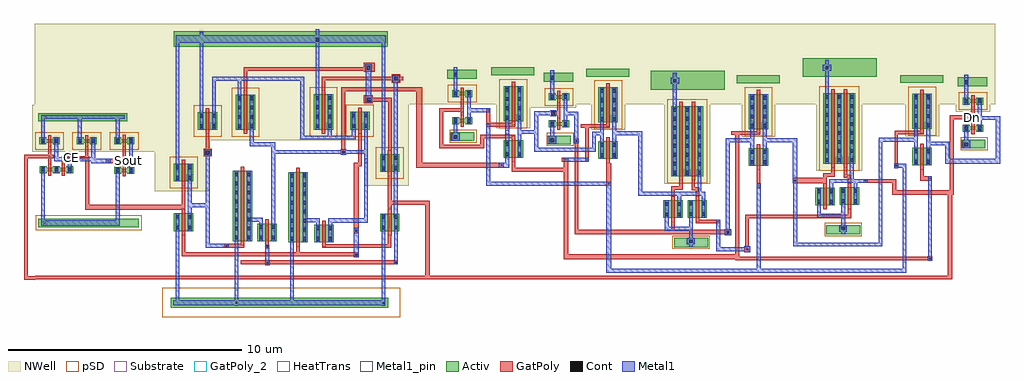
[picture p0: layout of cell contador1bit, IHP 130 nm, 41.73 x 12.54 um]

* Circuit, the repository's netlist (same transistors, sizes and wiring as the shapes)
* Extracted by KLayout with SG13G2 LVS runset on : 29/04/2026 17:07

.SUBCKT contador1bit
M$1 \$12 \$2 \$11 \$1 sg13_lv_nmos L=0.15u W=0.75u AS=0.255p AD=0.255p PS=2.18u
+ PD=2.18u
M$2 \$10 \$5 \$11 \$1 sg13_lv_nmos L=0.15u W=0.75u AS=0.255p AD=0.255p PS=2.18u
+ PD=2.18u
M$3 \$1 \$2 \$5 \$1 sg13_lv_nmos L=0.15u W=0.75u AS=0.255p AD=0.255p PS=2.18u
+ PD=2.18u
M$4 \$1 \$4 \$7 \$1 sg13_lv_nmos L=0.15u W=0.75u AS=0.255p AD=0.255p PS=2.18u
+ PD=2.18u
M$5 \$1 \$13 \$17 \$1 sg13_lv_nmos L=0.15u W=0.75u AS=0.255p AD=0.255p PS=2.18u
+ PD=2.18u
M$6 \$1 \$8 \$17 \$1 sg13_lv_nmos L=0.15u W=0.75u AS=0.255p AD=0.255p PS=2.18u
+ PD=2.18u
M$7 \$1 \$9 \$2 \$1 sg13_lv_nmos L=0.15u W=0.75u AS=0.255p AD=0.255p PS=2.18u
+ PD=2.18u
M$8 \$1 \$8 \$2 \$1 sg13_lv_nmos L=0.15u W=0.75u AS=0.255p AD=0.255p PS=2.18u
+ PD=2.18u
M$9 \$1 \$4 \$12 \$1 sg13_lv_nmos L=0.15u W=3u AS=1.02p AD=1.02p PS=6.68u
+ PD=6.68u
M$10 \$1 \$7 \$10 \$1 sg13_lv_nmos L=0.15u W=3u AS=1.02p AD=1.02p PS=6.68u
+ PD=6.68u
M$11 \$1 \$28 \$29 \$1 sg13_lv_nmos L=0.13u W=0.15u AS=0.1005p AD=0.1005p
+ PS=1.34u PD=1.34u
M$12 \$1 \$2 \$27 \$1 sg13_lv_nmos L=0.13u W=0.15u AS=0.1005p AD=0.0555p
+ PS=1.34u PD=0.74u
M$13 \$27 \$4 \$28 \$1 sg13_lv_nmos L=0.13u W=0.15u AS=0.0555p AD=0.1005p
+ PS=0.74u PD=1.34u
M$14 \$13 \$3 \$9 \$1 sg13_lv_nmos L=0.15u W=0.75u AS=0.255p AD=0.255p PS=2.18u
+ PD=2.18u
M$15 \$9 \$6 \$31 \$1 sg13_lv_nmos L=0.15u W=0.75u AS=0.255p AD=0.255p PS=2.18u
+ PD=2.18u
M$16 \$37 \$3 \$17 \$1 sg13_lv_nmos L=0.15u W=0.75u AS=0.255p AD=0.255p
+ PS=2.18u PD=2.18u
M$17 \$11 \$6 \$37 \$1 sg13_lv_nmos L=0.15u W=0.75u AS=0.255p AD=0.255p
+ PS=2.18u PD=2.18u
M$18 \$1 \$2 \$31 \$1 sg13_lv_nmos L=0.13u W=0.15u AS=0.1005p AD=0.1005p
+ PS=1.34u PD=1.34u
M$19 \$1 \$37 \$13 \$1 sg13_lv_nmos L=0.13u W=0.15u AS=0.1005p AD=0.1005p
+ PS=1.34u PD=1.34u
M$20 \$1 \$6 \$3 \$1 sg13_lv_nmos L=0.13u W=0.15u AS=0.1005p AD=0.1005p
+ PS=1.34u PD=1.34u
M$21 \$23 \$4 \$7 \$23 sg13_lv_pmos L=0.15u W=0.75u AS=0.255p AD=0.255p
+ PS=2.18u PD=2.18u
M$22 \$23 \$2 \$5 \$23 sg13_lv_pmos L=0.15u W=0.75u AS=0.255p AD=0.255p
+ PS=2.18u PD=2.18u
M$23 \$23 \$2 \$28 \$23 sg13_lv_pmos L=0.13u W=0.15u AS=0.1005p AD=0.1005p
+ PS=1.34u PD=1.34u
M$24 \$23 \$4 \$28 \$23 sg13_lv_pmos L=0.13u W=0.15u AS=0.1005p AD=0.1005p
+ PS=1.34u PD=1.34u
M$25 \$23 \$28 \$29 \$23 sg13_lv_pmos L=0.13u W=0.15u AS=0.1005p AD=0.1005p
+ PS=1.34u PD=1.34u
M$26 \$23 \$7 \$42 \$23 sg13_lv_pmos L=0.15u W=0.75u AS=0.255p AD=0.255p
+ PS=2.18u PD=2.18u
M$27 \$42 \$4 \$11 \$23 sg13_lv_pmos L=0.15u W=0.75u AS=0.255p AD=0.255p
+ PS=2.18u PD=2.18u
M$28 \$23 \$13 \$24 \$23 sg13_lv_pmos L=0.15u W=3u AS=1.02p AD=0.57p PS=6.68u
+ PD=3.38u
M$29 \$24 \$8 \$17 \$23 sg13_lv_pmos L=0.15u W=3u AS=0.57p AD=1.02p PS=3.38u
+ PD=6.68u
M$30 \$23 \$2 \$31 \$23 sg13_lv_pmos L=0.13u W=0.15u AS=0.1005p AD=0.1005p
+ PS=1.34u PD=1.34u
M$31 \$42 \$2 \$11 \$23 sg13_lv_pmos L=0.15u W=1.5u AS=0.51p AD=0.51p PS=3.68u
+ PD=3.68u
M$32 \$23 \$5 \$42 \$23 sg13_lv_pmos L=0.15u W=1.5u AS=0.51p AD=0.51p PS=3.68u
+ PD=3.68u
M$33 \$13 \$6 \$9 \$23 sg13_lv_pmos L=0.15u W=1.5u AS=0.51p AD=0.51p PS=3.68u
+ PD=3.68u
M$34 \$9 \$3 \$31 \$23 sg13_lv_pmos L=0.15u W=1.5u AS=0.51p AD=0.51p PS=3.68u
+ PD=3.68u
M$35 \$23 \$9 \$30 \$23 sg13_lv_pmos L=0.15u W=3u AS=1.02p AD=0.57p PS=6.68u
+ PD=3.38u
M$36 \$30 \$8 \$2 \$23 sg13_lv_pmos L=0.15u W=3u AS=0.57p AD=1.02p PS=3.38u
+ PD=6.68u
M$37 \$23 \$37 \$13 \$23 sg13_lv_pmos L=0.13u W=0.15u AS=0.1005p AD=0.1005p
+ PS=1.34u PD=1.34u
M$38 \$23 \$6 \$3 \$23 sg13_lv_pmos L=0.13u W=0.15u AS=0.1005p AD=0.1005p
+ PS=1.34u PD=1.34u
M$39 \$37 \$6 \$17 \$23 sg13_lv_pmos L=0.15u W=1.5u AS=0.51p AD=0.51p PS=3.68u
+ PD=3.68u
M$40 \$11 \$3 \$37 \$23 sg13_lv_pmos L=0.15u W=1.5u AS=0.51p AD=0.51p PS=3.68u
+ PD=3.68u
.ENDS contador1bit

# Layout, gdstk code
import gdstk
lib = gdstk.Library(unit=1e-6, precision=5e-09)
def R(c, l, rs):  # rectangles x0, y0, x1, y1
    for r in rs: c.add(gdstk.rectangle(r[:2], r[2:], *l))
def A(c, l, x, y, w, h, nx, ny, dx, dy):  # array of equal rectangles
    R(c, l, [(x+i*dx, y+j*dy, x+i*dx+w, y+j*dy+h) for i in range(nx) for j in range(ny)])
Activ = (1, 0)
GatPoly = (5, 0)
GatPoly_2 = (5, 2)
Cont = (6, 0)
Metal1 = (8, 0)
Metal1_pin = (8, 2)
pSD = (14, 0)
NWell = (31, 0)
Substrate = (40, 0)
HeatTrans = (51, 0)

pmos = lib.new_cell('pmos')
R(pmos, Activ, [(0,0,0.3,0.3), (0.57,0,0.87,0.3), (0,0.075,0.87,0.225)])
R(pmos, GatPoly, [(0.37,-0.105,0.5,0.405), (0.37,-0.105,0.5,0.405)])
R(pmos, Cont, [(0.07,0.07,0.23,0.23), (0.64,0.07,0.8,0.23)])
R(pmos, Metal1, [(0.07,0.02,0.23,0.28), (0.07,0.02,0.23,0.28), (0.64,0.02,0.8,0.28), (0.64,0.02,0.8,0.28)])
R(pmos, pSD, [(-0.18,-0.225,1.05,0.525)])
R(pmos, NWell, [(-0.31,-0.31,1.18,0.61)])
R(pmos, Substrate, [(0.57,0,0.87,0.3)])
R(pmos, HeatTrans, [(0.37,-0.105,0.5,0.405)])
pmos.add(gdstk.Label('pmos', (0.435,0.15), layer=63, texttype=0))
pmos.add(gdstk.Label('pmos', (0.435,0.15), layer=51, texttype=0))

nmos_1 = lib.new_cell('nmos$1')
R(nmos_1, Activ, [(0,0,0.3,0.3), (0.57,0,0.87,0.3), (0,0.075,0.87,0.225)])
R(nmos_1, GatPoly, [(0.37,-0.105,0.5,0.405)])
R(nmos_1, GatPoly_2, [(0.37,-0.105,0.5,0.405)])
R(nmos_1, Cont, [(0.07,0.07,0.23,0.23), (0.64,0.07,0.8,0.23)])
R(nmos_1, Metal1, [(0.07,0.02,0.23,0.28), (0.64,0.02,0.8,0.28)])
R(nmos_1, Metal1_pin, [(0.07,0.02,0.23,0.28), (0.64,0.02,0.8,0.28)])
R(nmos_1, HeatTrans, [(0.37,-0.105,0.5,0.405)])
nmos_1.add(gdstk.Label('nmos', (0.435,0.15), layer=63, texttype=0))
nmos_1.add(gdstk.Label('nmos', (0.435,0.15), layer=51, texttype=0))

inversor = lib.new_cell('inversor')
R(inversor, Activ, [(0.69,-0.325,1.695,0.04), (0.53,2.34,1.795,2.73)])
R(inversor, GatPoly, [(1.115,0.69,1.245,1.53)])
R(inversor, Cont, [(0.815,-0.235,0.975,-0.075), (0.815,2.43,0.975,2.59)])
R(inversor, Metal1, [(0.735,-0.31,1.065,-0.005), (0.815,-0.28,0.975,0.54), (1.385,0.54,1.545,1.735), (0.815,1.7,0.975,2.835)])
R(inversor, Metal1_pin, [(0.815,-0.235,0.975,-0.075), (0.815,2.43,0.975,2.59)])
R(inversor, pSD, [(0.655,-0.395,1.81,0.165)])
R(inversor, NWell, [(0.2,2.1,2.115,3.095)])
inversor.add(gdstk.Reference(pmos, (0.745,1.55)))
inversor.add(gdstk.Reference(nmos_1, (0.745,0.39)))
inversor.add(gdstk.Label('Vss', (0.905,-0.165), layer=8, texttype=2))
inversor.add(gdstk.Label('Vdd', (0.87,2.535), layer=8, texttype=2))

pmos_1_1 = lib.new_cell('pmos$1$1')
R(pmos_1_1, Activ, [(0,0,0.3,0.3), (0,0,0.83,3), (0.53,0,0.83,0.3)])
R(pmos_1_1, GatPoly, [(0.34,-0.18,0.49,3.18), (0.34,-0.18,0.49,3.18)])
A(pmos_1_1, Cont, 0.07, 0.07, 0.16, 0.16, 1, 7, 0, 0.385)
A(pmos_1_1, Cont, 0.6, 0.07, 0.16, 0.16, 1, 7, 0, 0.385)
R(pmos_1_1, Cont, [(0.07,2.77,0.23,2.93), (0.6,2.77,0.76,2.93)])
R(pmos_1_1, Metal1, [(0.07,0,0.23,3), (0.07,0,0.23,3), (0.6,0,0.76,3), (0.6,0,0.76,3)])
R(pmos_1_1, pSD, [(-0.18,-0.3,1.01,3.3)])
R(pmos_1_1, NWell, [(-0.31,-0.31,1.14,3.31)])
R(pmos_1_1, Substrate, [(0.53,0,0.83,0.3)])
R(pmos_1_1, HeatTrans, [(0.34,-0.18,0.49,3.18)])
pmos_1_1.add(gdstk.Label('pmos', (0.415,1.5), layer=63, texttype=0))
pmos_1_1.add(gdstk.Label('pmos', (0.415,1.5), layer=51, texttype=0))

nmos_1_1 = lib.new_cell('nmos$1$1')
R(nmos_1_1, Activ, [(0,0,0.3,0.3), (0,0,0.83,0.75), (0.53,0,0.83,0.3)])
R(nmos_1_1, GatPoly, [(0.34,-0.18,0.49,0.93)])
R(nmos_1_1, GatPoly_2, [(0.34,-0.18,0.49,0.93)])
R(nmos_1_1, Cont, [(0.07,0.07,0.23,0.23), (0.6,0.07,0.76,0.23), (0.07,0.52,0.23,0.68), (0.6,0.52,0.76,0.68)])
R(nmos_1_1, Metal1, [(0.07,0,0.23,0.75), (0.6,0,0.76,0.75)])
R(nmos_1_1, Metal1_pin, [(0.07,0,0.23,0.75), (0.6,0,0.76,0.75)])
R(nmos_1_1, HeatTrans, [(0.34,-0.18,0.49,0.93)])
nmos_1_1.add(gdstk.Label('nmos', (0.415,0.375), layer=63, texttype=0))
nmos_1_1.add(gdstk.Label('nmos', (0.415,0.375), layer=51, texttype=0))

puertanor = lib.new_cell('puertanor')
R(puertanor, Activ, [(8.035,3.76,9.485,4.155), (7.02,10.49,10.2,11.295)])
R(puertanor, GatPoly, [(7.905,5.935,8.055,6.365), (8.945,5.95,9.095,6.305), (8.78,6.185,9.095,6.315), (8.78,6.19,8.92,7.01), (7.905,6.21,8.4,6.365), (8.25,6.21,8.4,7.035)])
R(puertanor, Cont, [(8.675,3.945,8.835,4.075), (8,10.81,8.125,10.935)])
R(puertanor, Metal1, [(8.675,3.76,8.835,5.385), (8.58,3.875,8.915,4.13), (7.635,4.465,8.835,4.63), (7.635,4.465,7.795,5.125), (9.205,5.57,9.365,6.045), (8.165,5.755,8.325,6.045), (8.165,5.96,9.365,6.12), (9.04,5.96,9.2,6.87), (7.98,9.555,8.14,11.21), (7.89,10.75,8.24,11.005)])
R(puertanor, Metal1_pin, [(8.675,3.945,8.835,4.075), (8,10.81,8.125,10.935)])
R(puertanor, pSD, [(7.96,3.68,9.55,4.245)])
R(puertanor, NWell, [(6.37,9.87,10.88,11.81)])
puertanor.add(gdstk.Reference(pmos_1_1, (7.91,6.785)))
puertanor.add(gdstk.Reference(nmos_1_1, (8.605,5.02)))
puertanor.add(gdstk.Reference(nmos_1_1, (7.565,5.005)))
puertanor.add(gdstk.Reference(pmos_1_1, (8.44,6.785)))
puertanor.add(gdstk.Label('vdd', (8.055,10.86), layer=8, texttype=2))
puertanor.add(gdstk.Label('Vss', (8.74,4.01), layer=8, texttype=2))

nmos = lib.new_cell('nmos')
R(nmos, Activ, [(0,0,0.3,0.3), (0,0,0.83,0.75), (0.53,0,0.83,0.3)])
R(nmos, GatPoly, [(0.34,-0.18,0.49,0.93)])
R(nmos, GatPoly_2, [(0.34,-0.18,0.49,0.93)])
R(nmos, Cont, [(0.07,0.07,0.23,0.23), (0.6,0.07,0.76,0.23), (0.07,0.52,0.23,0.68), (0.6,0.52,0.76,0.68)])
R(nmos, Metal1, [(0.07,0,0.23,0.75), (0.6,0,0.76,0.75)])
R(nmos, Metal1_pin, [(0.07,0,0.23,0.75), (0.6,0,0.76,0.75)])
R(nmos, HeatTrans, [(0.34,-0.18,0.49,0.93)])
nmos.add(gdstk.Label('nmos', (0.415,0.375), layer=63, texttype=0))
nmos.add(gdstk.Label('nmos', (0.415,0.375), layer=51, texttype=0))

pmos_1 = lib.new_cell('pmos$1')
R(pmos_1, Activ, [(0,0,0.3,0.3), (0,0,0.83,1.5), (0.53,0,0.83,0.3)])
R(pmos_1, GatPoly, [(0.34,-0.18,0.49,1.68), (0.34,-0.18,0.49,1.68)])
A(pmos_1, Cont, 0.07, 0.07, 0.16, 0.16, 1, 4, 0, 0.4)
A(pmos_1, Cont, 0.6, 0.07, 0.16, 0.16, 1, 4, 0, 0.4)
R(pmos_1, Metal1, [(0.07,0,0.23,1.5), (0.07,0,0.23,1.5), (0.6,0,0.76,1.5), (0.6,0,0.76,1.5)])
R(pmos_1, pSD, [(-0.18,-0.3,1.01,1.8)])
R(pmos_1, NWell, [(-0.31,-0.31,1.14,1.81)])
R(pmos_1, Substrate, [(0.53,0,0.83,0.3)])
R(pmos_1, HeatTrans, [(0.34,-0.18,0.49,1.68)])
pmos_1.add(gdstk.Label('pmos', (0.415,0.75), layer=63, texttype=0))
pmos_1.add(gdstk.Label('pmos', (0.415,0.75), layer=51, texttype=0))

interruptor = lib.new_cell('interruptor')
R(interruptor, Activ, [(2.655,5.625,4.49,5.965)])
R(interruptor, GatPoly, [(2.425,3.43,3.665,3.59)])
R(interruptor, Metal1, [(3.775,2.66,3.935,3.885), (3.245,2.735,3.405,4.385)])
R(interruptor, NWell, [(2.335,5.295,4.835,6.255)])
interruptor.add(gdstk.Reference(nmos, (3.175,2.105)))
interruptor.add(gdstk.Reference(pmos_1, (3.175,3.665)))

flipflop = lib.new_cell('flipflop')
R(flipflop, GatPoly, [(20.34,4.995,20.535,5.2), (12.11,5.015,20.515,5.175), (4.765,5.065,4.97,8.795), (4.765,5.065,12.27,5.27), (12.11,5.065,12.27,10.54), (12.485,5.355,12.735,5.62), (12.54,5.405,12.68,6.96), (11.645,6.08,11.93,6.355), (5.235,6.13,5.39,8.31), (5.235,6.13,11.865,6.315), (9.365,6.13,9.515,6.695), (10.405,6.605,11.455,6.755), (12.54,6.81,17.06,6.96), (16.91,6.81,17.06,7.265), (18.825,7.815,18.995,8.49), (18.825,7.815,21.455,8.01), (21.28,7.815,21.455,11.215), (13.025,8.105,13.175,8.88), (5.235,8.14,5.39,10.225), (6.595,8.21,6.795,9.175), (14.56,8.305,16.02,8.54), (17.59,8.33,18.995,8.49), (20.02,8.42,20.17,8.47), (20.02,8.42,20.515,8.61), (20.02,8.47,20.17,8.9), (2.54,8.795,2.69,9.225), (2.54,8.795,4.97,8.965), (4.765,8.795,4.97,9.405), (18.895,8.96,19.08,9.17), (18.915,8.985,19.05,10.565), (4.685,9.225,4.955,9.405), (5.695,9.225,5.845,10.84), (-0.555,9.805,-0.39,11.525), (-0.555,9.805,1.38,9.965), (1.205,9.805,1.38,10.395), (5.225,10.02,5.41,10.225), (1.205,10.235,1.975,10.395), (1.975,10.24,2.69,10.395), (1.455,10.735,1.625,11.515), (21.28,11.04,22.335,11.215), (4.24,11.225,4.63,11.39), (-0.555,11.36,0.495,11.525)])
R(flipflop, GatPoly_2, [(16.745,8.56,16.885,8.69), (22.205,11.04,22.335,11.205), (0.365,11.355,0.495,11.525)])
R(flipflop, Cont, [(20.395,5.06,20.475,5.13), (12.57,5.46,12.65,5.52), (11.735,6.16,11.845,6.28), (11.365,6.67,11.395,6.695), (13.095,8.2,13.115,8.225), (6.675,8.28,6.715,8.305), (17.66,8.4,17.695,8.43), (14.63,8.405,14.685,8.455), (20.435,8.5,20.455,8.535), (18.95,9.03,19.025,9.095), (4.85,9.29,4.885,9.33), (5.765,9.315,5.785,9.33), (5.275,10.09,5.35,10.16), (1.525,10.805,1.55,10.825), (4.24,11.225,4.385,11.39), (1.525,11.43,1.56,11.455)])
R(flipflop, Metal1, [(6.59,4.49,6.795,8.21), (6.59,4.49,13.445,4.65), (13.445,4.49,19.42,4.65), (19.26,4.49,19.42,9.145), (13.025,4.65,13.185,8.32), (20.34,4.995,20.535,5.2), (20.355,5.065,20.515,8.61), (12.485,5.355,12.735,5.62), (11.295,5.405,11.455,6.755), (11.295,5.405,12.68,5.57), (14.58,5.615,18.395,5.775), (14.58,5.615,14.745,8.32), (18.235,5.615,18.395,10.255), (11.645,6.08,11.93,6.355), (11.705,6.13,11.865,10.235), (7.95,7.78,9.785,7.945), (7.95,7.79,8.12,10.535), (1.45,8.21,1.625,10.885), (1.45,8.21,5.84,8.37), (5.84,8.21,6.795,8.37), (14.56,8.32,14.745,10.24), (14.58,8.32,14.745,8.535), (17.16,8.33,17.77,8.49), (18.895,8.96,19.08,9.17), (18.915,8.985,19.42,9.145), (21.085,9.15,21.255,10.095), (21.085,9.15,23.425,9.35), (23.245,9.15,23.425,11.185), (4.765,9.225,5.715,9.405), (5.59,9.225,5.845,9.405), (3.51,9.66,6.14,9.82), (3.51,9.66,3.67,10.585), (5.98,9.66,6.14,10.525), (20.28,9.935,21.255,10.095), (5.225,10.02,5.41,10.225), (5.23,10.03,5.39,11.38), (11.705,10.07,12.915,10.235), (13.285,10.075,14.745,10.24), (18.235,10.09,19.91,10.255), (6.02,10.365,6.485,10.525), (6.855,10.37,8.12,10.535), (2.805,10.42,3.67,10.585), (3.51,10.42,3.67,11.39), (22.475,11.02,23.425,11.185), (4.19,11.17,4.44,11.44), (4.77,11.22,5.39,11.38), (3.51,11.225,4.385,11.39), (0.635,11.355,1.625,11.515)])
R(flipflop, Metal1_pin, [(2.27,10.415,2.43,10.58)])
R(flipflop, NWell, [(5.495,12.41,5.945,12.545)])
flipflop.add(gdstk.Reference(inversor, (3.385,10.31)))
flipflop.add(gdstk.Reference(puertanor, (1.46,1.825)))
flipflop.add(gdstk.Reference(interruptor, (-0.975,7.3)))
flipflop.add(gdstk.Reference(interruptor, (3.08,7.25)))
flipflop.add(gdstk.Reference(interruptor, (9.51,6.955)))
flipflop.add(gdstk.Reference(inversor, (21.09,10.125)))
flipflop.add(gdstk.Reference(puertanor, (7.965,2.37)))
flipflop.add(gdstk.Reference(interruptor, (16.505,6.975)))
flipflop.add(gdstk.Reference(inversor, (-0.75,10.445)))
flipflop.add(gdstk.Label('clk', (0.43,11.44), layer=5, texttype=2))
flipflop.add(gdstk.Label('clr', (16.82,8.605), layer=5, texttype=2))

pmos_3 = lib.new_cell('pmos$3')
R(pmos_3, Activ, [(0,0,0.3,0.3), (0.57,0,0.87,0.3), (0,0.075,0.87,0.225)])
R(pmos_3, GatPoly, [(0.37,-0.105,0.5,0.405), (0.37,-0.105,0.5,0.405)])
R(pmos_3, Cont, [(0.07,0.07,0.23,0.23), (0.64,0.07,0.8,0.23)])
R(pmos_3, Metal1, [(0.07,0.02,0.23,0.28), (0.07,0.02,0.23,0.28), (0.64,0.02,0.8,0.28), (0.64,0.02,0.8,0.28)])
R(pmos_3, pSD, [(-0.18,-0.225,1.05,0.525)])
R(pmos_3, NWell, [(-0.31,-0.31,1.18,0.61)])
R(pmos_3, Substrate, [(0.57,0,0.87,0.3)])
R(pmos_3, HeatTrans, [(0.37,-0.105,0.5,0.405)])
pmos_3.add(gdstk.Label('pmos', (0.435,0.15), layer=63, texttype=0))
pmos_3.add(gdstk.Label('pmos', (0.435,0.15), layer=51, texttype=0))

nmos_3 = lib.new_cell('nmos$3')
R(nmos_3, Activ, [(0,0,0.3,0.3), (0.57,0,0.87,0.3), (0,0.075,0.87,0.225)])
R(nmos_3, GatPoly, [(0.37,-0.105,0.5,0.405)])
R(nmos_3, GatPoly_2, [(0.37,-0.105,0.5,0.405)])
R(nmos_3, Cont, [(0.07,0.07,0.23,0.23), (0.64,0.07,0.8,0.23)])
R(nmos_3, Metal1, [(0.07,0.02,0.23,0.28), (0.64,0.02,0.8,0.28)])
R(nmos_3, Metal1_pin, [(0.07,0.02,0.23,0.28), (0.64,0.02,0.8,0.28)])
R(nmos_3, HeatTrans, [(0.37,-0.105,0.5,0.405)])
nmos_3.add(gdstk.Label('nmos', (0.435,0.15), layer=63, texttype=0))
nmos_3.add(gdstk.Label('nmos', (0.435,0.15), layer=51, texttype=0))

and_ = lib.new_cell('and')
R(and_, Activ, [(-0.89,-2.53,3.405,-2.17), (-0.9,1.99,2.915,2.335)])
R(and_, GatPoly, [(2.715,0.145,2.845,0.9), (-0.48,0.17,-0.345,0.9), (0.095,0.17,0.225,0.495), (1.995,0.195,2.75,0.385), (0.19,0.365,1.235,0.495), (1.105,0.385,1.235,0.955), (2.715,0.89,2.845,0.92)])
R(and_, GatPoly_2, [(0.455,0.385,0.59,0.495), (-0.48,0.41,-0.345,0.53)])
R(and_, Cont, [(-0.615,-2.37,-0.58,-2.345), (2.08,0.285,2.115,0.305), (-0.605,2.185,-0.58,2.205)])
R(and_, Metal1, [(-0.775,-2.47,2.575,-2.235), (2.415,-2.47,2.575,-0.1), (-0.775,-2.42,-0.615,-0.035), (2.985,0.025,3.145,1.03), (0.365,0.045,0.525,0.385), (1.375,0.195,1.535,1.025), (1.375,0.195,2.195,0.385), (-0.21,0.29,1.535,0.45), (-0.21,0.29,-0.05,1.08), (2.415,1.16,2.575,2.265), (-0.78,1.285,-0.62,2.265), (0.79,1.285,0.965,1.435), (0.79,1.305,0.965,2.23), (-0.78,2.105,2.79,2.265)])
R(and_, Metal1_pin, [(-0.68,-2.47,-0.52,-2.25), (2.985,0.23,3.145,0.39), (-0.675,2.115,-0.515,2.265)])
R(and_, pSD, [(-1.005,-2.665,3.53,-2.02)])
R(and_, NWell, [(-1.16,0.695,3.525,2.7)])
and_.add(gdstk.Reference(pmos_3, (0.735,1.005)))
and_.add(gdstk.Reference(nmos_3, (2.345,-0.25)))
and_.add(gdstk.Reference(pmos_3, (2.345,1.01)))
and_.add(gdstk.Reference(pmos_3, (-0.85,1.005)))
and_.add(gdstk.Reference(nmos_3, (-0.275,-0.22)))
and_.add(gdstk.Reference(nmos_3, (-0.845,-0.22)))
and_.add(gdstk.Label('Vss', (-0.595,-2.36), layer=8, texttype=2))
and_.add(gdstk.Label('vdd', (-0.595,2.19), layer=8, texttype=2))

pmos_1_2 = lib.new_cell('pmos$1$2')
R(pmos_1_2, Activ, [(0,0,0.3,0.3), (0,0,0.83,1.5), (0.53,0,0.83,0.3)])
R(pmos_1_2, GatPoly, [(0.34,-0.18,0.49,1.68), (0.34,-0.18,0.49,1.68)])
A(pmos_1_2, Cont, 0.07, 0.07, 0.16, 0.16, 1, 4, 0, 0.4)
A(pmos_1_2, Cont, 0.6, 0.07, 0.16, 0.16, 1, 4, 0, 0.4)
R(pmos_1_2, Metal1, [(0.07,0,0.23,1.5), (0.07,0,0.23,1.5), (0.6,0,0.76,1.5), (0.6,0,0.76,1.5)])
R(pmos_1_2, pSD, [(-0.18,-0.3,1.01,1.8)])
R(pmos_1_2, NWell, [(-0.31,-0.31,1.14,1.81)])
R(pmos_1_2, Substrate, [(0.53,0,0.83,0.3)])
R(pmos_1_2, HeatTrans, [(0.34,-0.18,0.49,1.68)])
pmos_1_2.add(gdstk.Label('pmos', (0.415,0.75), layer=63, texttype=0))
pmos_1_2.add(gdstk.Label('pmos', (0.415,0.75), layer=51, texttype=0))

nmos_2 = lib.new_cell('nmos$2')
R(nmos_2, Activ, [(0,0,0.3,0.3), (0,0,0.83,0.75), (0.53,0,0.83,0.3)])
R(nmos_2, GatPoly, [(0.34,-0.18,0.49,0.93)])
R(nmos_2, GatPoly_2, [(0.34,-0.18,0.49,0.93)])
R(nmos_2, Cont, [(0.07,0.07,0.23,0.23), (0.6,0.07,0.76,0.23), (0.07,0.52,0.23,0.68), (0.6,0.52,0.76,0.68)])
R(nmos_2, Metal1, [(0.07,0,0.23,0.75), (0.6,0,0.76,0.75)])
R(nmos_2, Metal1_pin, [(0.07,0,0.23,0.75), (0.6,0,0.76,0.75)])
R(nmos_2, HeatTrans, [(0.34,-0.18,0.49,0.93)])
nmos_2.add(gdstk.Label('nmos', (0.415,0.375), layer=63, texttype=0))
nmos_2.add(gdstk.Label('nmos', (0.415,0.375), layer=51, texttype=0))

nmos_1_2 = lib.new_cell('nmos$1$2')
R(nmos_1_2, Activ, [(0,0,0.3,0.3), (0,0,0.83,3), (0.53,0,0.83,0.3)])
R(nmos_1_2, GatPoly, [(0.34,-0.18,0.49,3.18)])
R(nmos_1_2, GatPoly_2, [(0.34,-0.18,0.49,3.18)])
A(nmos_1_2, Cont, 0.07, 0.07, 0.16, 0.16, 1, 7, 0, 0.385)
A(nmos_1_2, Cont, 0.6, 0.07, 0.16, 0.16, 1, 7, 0, 0.385)
R(nmos_1_2, Cont, [(0.07,2.77,0.23,2.93), (0.6,2.77,0.76,2.93)])
R(nmos_1_2, Metal1, [(0.07,0,0.23,3), (0.6,0,0.76,3)])
R(nmos_1_2, Metal1_pin, [(0.07,0,0.23,3), (0.6,0,0.76,3)])
R(nmos_1_2, HeatTrans, [(0.34,-0.18,0.49,3.18)])
nmos_1_2.add(gdstk.Label('nmos', (0.415,1.5), layer=63, texttype=0))
nmos_1_2.add(gdstk.Label('nmos', (0.415,1.5), layer=51, texttype=0))

pmos_2 = lib.new_cell('pmos$2')
R(pmos_2, Activ, [(0,0,0.3,0.3), (0,0,0.83,0.75), (0.53,0,0.83,0.3)])
R(pmos_2, GatPoly, [(0.34,-0.18,0.49,0.93), (0.34,-0.18,0.49,0.93)])
R(pmos_2, Cont, [(0.07,0.07,0.23,0.23), (0.6,0.07,0.76,0.23), (0.07,0.52,0.23,0.68), (0.6,0.52,0.76,0.68)])
R(pmos_2, Metal1, [(0.07,0,0.23,0.75), (0.07,0,0.23,0.75), (0.6,0,0.76,0.75), (0.6,0,0.76,0.75)])
R(pmos_2, pSD, [(-0.18,-0.3,1.01,1.05)])
R(pmos_2, NWell, [(-0.31,-0.31,1.14,1.06)])
R(pmos_2, Substrate, [(0.53,0,0.83,0.3)])
R(pmos_2, HeatTrans, [(0.34,-0.18,0.49,0.93)])
pmos_2.add(gdstk.Label('pmos', (0.415,0.375), layer=63, texttype=0))
pmos_2.add(gdstk.Label('pmos', (0.415,0.375), layer=51, texttype=0))

puertaxor = lib.new_cell('puertaxor')
R(puertaxor, Activ, [(1.36,-3.385,10.66,-2.96), (1.485,7.78,10.64,8.435)])
R(puertaxor, GatPoly, [(4.36,-1.52,11.075,-1.36), (1.84,-1.175,1.99,-0.035), (1.85,-1.175,8,-1.015), (6.74,-1.175,6.885,-0.52), (7.615,-1.175,9.415,-1.015), (5.41,-0.835,5.56,-0.655), (7.85,-0.83,10.8,-0.68), (3.66,-0.825,4.515,-0.66), (4.365,-0.825,4.515,-0.515), (10.655,-0.77,10.8,-0.14), (9.185,-0.195,9.405,1.56), (1.84,0.6,1.99,1.425), (10.655,0.765,10.805,2.35), (1.84,1.345,1.99,1.95), (9.185,1.345,9.405,2.81), (10.66,2.29,10.805,5.6), (9.185,2.655,9.525,2.81), (9.375,2.655,9.525,4.17), (2.785,3.09,3.11,3.42), (2.87,3.17,3.02,4.155), (9.625,5.355,10.005,5.695), (9.71,5.43,9.885,5.6), (9.84,5.43,10.82,5.6), (7.825,5.555,7.975,6.5), (4.49,5.76,4.64,6.89), (10.815,6.24,11.185,6.6), (7.825,6.335,11.31,6.5), (9.625,6.71,10.09,7.08), (4.515,6.75,9.96,6.89), (9.845,6.79,10.09,6.995)])
R(puertaxor, GatPoly_2, [(1.84,0.705,1.99,0.875), (10.655,0.765,10.805,0.88)])
R(puertaxor, Cont, [(4.15,-3.21,4.21,-3.14), (10.42,-3.205,10.49,-3.145), (5.46,-1.475,5.525,-1.425), (10.965,-1.465,11.02,-1.425), (9.26,-1.14,9.355,-1.075), (5.465,-0.795,5.52,-0.745), (3.715,-0.775,3.785,-0.715), (9.245,-0.13,9.34,-0.045), (2.87,3.165,3.03,3.325), (9.75,5.435,9.91,5.595), (10.915,6.335,11.075,6.495), (9.745,6.8,9.905,6.96), (7.555,7.995,7.715,8.155)])
R(puertaxor, Metal1, [(4.095,-3.31,4.255,-0.25), (10.385,-3.3,10.545,0.19), (1.475,-3.275,1.71,-3.07), (1.57,-3.275,10.545,-3.07), (6.47,-3.235,6.63,-0.3), (1.57,-3.23,1.73,0.125), (5.41,-1.565,5.57,-0.695), (5.565,-1.565,5.59,-1.36), (10.915,-1.52,11.075,0.105), (9.18,-1.23,9.415,-1.175), (9.18,-1.175,9.415,0.03), (2.87,-0.825,3.845,-0.66), (2.87,-0.72,3.03,1.07), (7.58,-0.07,7.74,0.435), (8.11,-0.04,8.27,0.445), (5.14,-0.015,5.3,0.465), (5.67,0,5.83,3.7), (8.11,0.24,9.795,0.445), (9.635,0.24,9.795,2.905), (7.07,0.275,7.74,0.435), (4.725,0.295,5.3,0.465), (2.1,0.415,2.26,2.245), (10.91,0.47,11.075,1.985), (2.1,0.905,3.03,1.08), (2.87,0.905,3.03,3.31), (10.91,1.9,11.075,6.5), (1.57,2.54,1.73,8.265), (9.635,2.68,9.795,4.385), (10.385,2.945,10.545,8.265), (2.815,3.11,3.09,3.385), (5.67,3.195,9.795,3.355), (2.87,3.31,3.03,3.34), (4.75,3.53,4.91,4.45), (4.75,3.53,5.83,3.7), (6.905,3.815,7.07,6.49), (6.905,3.815,8.26,3.975), (8.085,3.815,8.245,4.465), (8.085,3.815,9.27,3.975), (9.105,3.815,9.27,4.46), (2.6,4.6,2.76,8.425), (3.13,4.755,3.295,6.49), (7.555,4.985,7.715,8.52), (9.69,5.395,9.975,5.635), (9.71,5.43,9.94,6.995), (4.22,5.5,4.38,6.49), (10.845,6.275,11.15,6.545), (3.13,6.33,4.375,6.49), (4.215,6.33,7.07,6.49), (9.675,6.75,9.96,7.025), (1.585,7.935,10.565,8.265)])
R(puertaxor, Metal1_pin, [(4.15,-3.21,4.21,-3.14), (9.635,2.795,9.795,2.975), (7.585,8.03,7.69,8.125)])
R(puertaxor, pSD, [(1.005,-3.79,11.17,-2.535)])
R(puertaxor, NWell, [(0.69,1.595,3.03,3.945), (9.635,1.835,11.545,4.235), (0.69,3.775,11.545,8.755)])
puertaxor.add(gdstk.Reference(pmos_1_2, (7.485,4.235)))
puertaxor.add(gdstk.Reference(nmos_2, (5.07,-0.535)))
puertaxor.add(gdstk.Reference(nmos_1_2, (6.4,-0.59)))
puertaxor.add(gdstk.Reference(nmos_2, (7.51,-0.59)))
puertaxor.add(gdstk.Reference(nmos_1_2, (4.025,-0.535)))
puertaxor.add(gdstk.Reference(pmos_2, (1.5,2.02)))
puertaxor.add(gdstk.Reference(pmos_2, (10.315,2.425)))
puertaxor.add(gdstk.Reference(nmos_2, (1.5,-0.105)))
puertaxor.add(gdstk.Reference(nmos_2, (10.315,-0.11)))
puertaxor.add(gdstk.Reference(pmos_1_2, (4.15,4.225)))
puertaxor.add(gdstk.Reference(pmos_2, (2.53,4.225)))
puertaxor.add(gdstk.Reference(pmos_2, (9.035,4.235)))
puertaxor.add(gdstk.Label('vss', (4.18,-3.175), layer=8, texttype=2))
puertaxor.add(gdstk.Label('Z', (9.685,2.86), layer=8, texttype=2))
puertaxor.add(gdstk.Label('Vdd', (7.625,8.075), layer=8, texttype=2))
puertaxor.add(gdstk.Label('B', (1.89,0.77), layer=5, texttype=2))
puertaxor.add(gdstk.Label('A', (10.715,0.835), layer=5, texttype=2))

contador1bit = lib.new_cell('contador1bit')
R(contador1bit, GatPoly, [(-18.31,4.195,-18.145,9.525), (-18.31,4.195,-17.82,4.345), (-17.82,4.2,-0.955,4.35), (-1.155,4.2,-0.95,7.56), (-1.155,4.2,7.27,4.35), (7.165,4.2,21.39,4.35), (21.195,4.2,21.39,8.01), (-15.695,7.17,-15.53,8.38), (-15.695,7.185,-12.92,7.39), (-12.98,7.185,-11.445,7.39), (-2.745,7.39,-0.95,7.56), (-15.695,8.38,-15.53,9.465), (-1.535,8.975,-1.28,12.155), (-1.49,8.975,2.215,9.19), (-18.31,9.38,-17.045,9.525), (-4.76,9.535,-4.55,9.75), (-4.735,9.565,-4.57,12.155), (-1.535,11.835,-1.28,12.38), (-4.735,12.04,-4.57,12.38), (-4.735,12.25,-1.28,12.42)])
R(contador1bit, Cont, [(2.1,9.06,2.13,9.095), (-4.705,9.595,-4.59,9.69)])
R(contador1bit, Metal1, [(2,8.975,2.43,9.19), (2.27,8.975,2.43,9.405), (-4.77,9.525,-4.54,9.76)])
R(contador1bit, NWell, [(-13.275,9.66,-12.71,9.67), (-13.37,9.665,-12.895,11.745), (-12.895,9.665,-12.49,9.9), (-17.855,9.89,-11.395,15.125), (-13.37,9.9,-12.355,11.645), (-13.64,11.385,-13.355,11.745), (3.325,11.55,3.84,11.695), (-1.855,11.695,8.69,15.125), (8.69,11.695,23.22,15.125), (-0.87,12.545,-0.55,13.585), (-2.835,12.605,1.175,14.305)])
contador1bit.add(gdstk.Reference(flipflop, (0,0)))
contador1bit.add(gdstk.Reference(and_, (-16.8,8.965)))
contador1bit.add(gdstk.Reference(puertaxor, (-13.4,6.375)))
contador1bit.add(gdstk.Label('Sout', (-13.83,9.275), layer=8, texttype=2))
contador1bit.add(gdstk.Label('Dn', (22.27,11.12), layer=5, texttype=2))
contador1bit.add(gdstk.Label('CE', (-16.28,9.405), layer=5, texttype=2))

lib.write_gds('contador1bit.gds')
